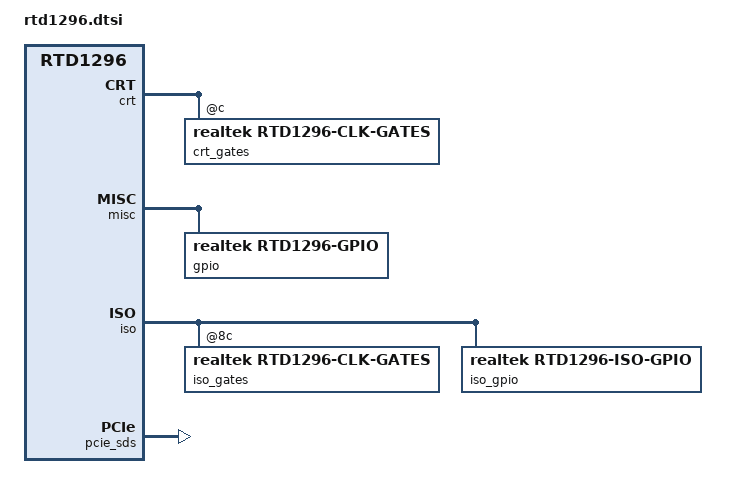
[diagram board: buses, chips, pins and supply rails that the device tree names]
// SPDX-License-Identifier: (GPL-2.0-or-later OR BSD-2-Clause)
#include <arm64/realtek/rtd1296.dtsi>

/ {
	emmc_input: clock-emmc {
		compatible = "fixed-clock";
		#clock-cells = <0>;
		clock-frequency = <80000000>;
	};
};

&rbus {
	cr_domain: power-domain-cr {
		compatible = "realtek,rtd1296-reset-domain";
		#power-domain-cells = <1>;
		resets = <&reset2 10>;
		reset-names = "domain";
	};

	sd: mmc@10400 {
		compatible = "realtek,rtd1296-sdmmc";
		reg = <0x10400 0x200>;
		realtek,crt = <&crt>;
		realtek,sb2 = <&sb2>;
		clocks = <&crt_gates 25>, <&crt_gates 31>;
		power-domains = <&cr_domain 0>;
		status = "disabled";
	};

	emmc: mmc@12000 {
		compatible = "realtek,rtd1296-dw-mshc";
		reg = <0x12000 0x600>;
		realtek,crt = <&crt>;
		clocks = <&emmc_input>, <&crt_gates 24>,
			 <&crt_gates 25>, <&crt_gates 28>;
		clock-names = "ciu", "card", "biu", "ip";
		resets = <&reset2 11>;
		reset-names = "emmc";
		power-domains = <&cr_domain 0>;
		status = "disabled";
	};

	cr_pinctrl: pinctrl@12600 {
		compatible = "pinctrl-single";
		reg = <0x12600 0x40>;
		#pinctrl-cells = <1>;
		pinctrl-single,register-width = <32>;
		pinctrl-single,function-mask = <3>;
		pinctrl-single,bit-per-mux;
	};
};

&crt {
	crt_gates: clock-controller@c {
		compatible = "realtek,rtd1296-clk-gates";
		reg = <0xc 8>;
		#clock-cells = <1>;
	};
};


&misc {
	gpio: gpio@100 {
		compatible = "realtek,rtd1296-gpio";
		reg = <0x100 0x30>;
		gpio-controller;
		#gpio-cells = <2>;
	};
};

&iso {
	iso_pinctrl: pinctrl@310 {
		compatible = "pinctrl-single";
		reg = <0x310 0x10>;
		#pinctrl-cells = <1>;
		pinctrl-single,register-width = <32>;
		pinctrl-single,function-mask = <3>;
		pinctrl-single,bit-per-mux;
	};

	iso_gates: clock-controller@8c {
		compatible = "realtek,rtd1296-clk-gates";
		reg = <0x8c 4>;
		#clock-cells = <1>;
	};

	iso_gpio: gpio@100 {
		compatible = "realtek,rtd1296-iso-gpio";
		reg = <0x100 0x24>;
		gpio-controller;
		#gpio-cells = <2>;
	};
};

&sb2 {
	pinctrl: pinctrl@900 {
		compatible = "pinctrl-single";
		reg = <0x900 0x10>;
		#pinctrl-cells = <1>;
		pinctrl-single,register-width = <32>;
		pinctrl-single,function-mask = <3>;
		pinctrl-single,bit-per-mux;
	};
};

&{/soc@0} {
	usb_bus: usb-bus {
		compatible = "realtek,rtd1296-usb-bus";
		#address-cells = <1>;
		#size-cells = <1>;
		ranges;
		clocks = <&crt_gates 4>;
		power-domains = <&serdes_domain 0>;
		resets = <&reset1 8>, <&reset1 9>, <&reset2 3>,
			 <&reset1 2>, <&reset2 2>, <&reset2 4>,
			 <&reset1 6>, <&reset1 4>, <&reset2 5>;
		reset-names = "usb2-0", "usb2-1", "usb2-2", "usb3-0",
			      "usb2-3", "usb3-1", "controller", "mdio0", "mdio1";
		status = "disabled";

		typec_usb3_phy: phy@98013210 {
			compatible = "realtek,rtd1296-usb3phy";
			reg = <0x98013210 4>;
			#phy-cells = <0>;
		};

		typec_usb2_phy: phy@98013214 {
			compatible = "realtek,rtd1296-usb2phy";
			reg = <0x98013214 4>, <0x98028280 4>;
			#phy-cells = <0>;
		};

		typec: typec@9801334c {
			compatible = "realtek,rtd1296-typec-source";
			reg = <0x9801334c 0x18>;
		};

		usb3_phy: phy@98013e10 {
			compatible = "realtek,rtd1296-usb3phy";
			reg = <0x98013e10 4>;
			#phy-cells = <0>;
		};

		usb3_usb2_phy: phy@98013e14 {
			compatible = "realtek,rtd1296-usb2phy";
			reg = <0x98013e14 4>, <0x981f8280 4>;
			#phy-cells = <0>;
		};

		ehci: usb@98013000 {
			compatible = "realtek,rtd1296-ehci";
			reg = <0x98013000 0x100>, <0x98013800 0x50>;
			reg-names = "core", "wrapper";
		};

		typec_host: usb@98020000 {
			compatible = "realtek,rtd1296-dwc3";
			reg = <0x98020000 0x9000>, <0x98013200 0x140>;
			reg-names = "core", "wrapper";
			dr_mode = "host";
			maximum-speed = "super-speed";
			phys = <&typec_usb3_phy>, <&typec_usb2_phy>;
			phy-names = "usb3-phy", "usb2-phy";
			snps,dis_u2_susphy_quirk;
			snps,dis_u3_susphy_quirk;
		};

		usb2_host: usb@98029000 {
			compatible = "realtek,rtd1296-dwc3";
			reg = <0x98029000 0x9000>, <0x98013c00 0x140>;
			reg-names = "core", "wrapper";
			dr_mode = "host";
			maximum-speed = "high-speed";
			snps,dis_u2_susphy_quirk;
		};

		usb3_host: usb@981f0000 {
			compatible = "realtek,rtd1296-dwc3";
			reg = <0x981f0000 0x9000>, <0x98013e00 0x140>;
			reg-names = "core", "wrapper";
			dr_mode = "host";
			maximum-speed = "super-speed";
			phys = <&usb3_phy>, <&usb3_usb2_phy>;
			phy-names = "usb3-phy", "usb2-phy";
			snps,dis_u2_susphy_quirk;
			snps,dis_u3_susphy_quirk;
		};
	};

	pcie_sds: syscon@9801c600 {
		compatible = "syscon";
		reg = <0x9801c600 0x100>;
	};

	pcie0: pcie@9804e000 {
		compatible = "realtek,rtd1296-pcie-gen1";
		reg = <0x9804e000 0x1000>, <0x9804f000 0x800>;
		device_type = "pci";
		#address-cells = <3>;
		#size-cells = <2>;
		bus-range = <0 0>;
		ranges = <0x02000000 0 0xc0000000 0x9804f000 0 0x800>;
		realtek,sds = <&pcie_sds>;
		realtek,sb2 = <&sb2>;
		power-domains = <&serdes_domain 0>;
		clocks = <&crt_gates 1>;
		resets = <&reset2 6>, <&reset2 8>, <&reset2 13>,
			 <&reset2 14>, <&reset2 15>, <&reset2 7>, <&reset4 13>;
		status = "disabled";
	};

	pcie1: pcie@9803b000 {
		compatible = "realtek,rtd1296-pcie-gen2";
		reg = <0x9803b000 0x1000>, <0x9803c000 0x800>;
		device_type = "pci";
		#address-cells = <3>;
		#size-cells = <2>;
		bus-range = <1 1>;
		ranges = <0x02000000 0 0xc1000000 0x9803c000 0 0x800>;
		realtek,sds = <&pcie_sds>;
		realtek,sb2 = <&sb2>;
		power-domains = <&serdes_domain 0>;
		clocks = <&crt_gates 37>;
		resets = <&reset2 19>, <&reset2 17>, <&reset2 20>,
			 <&reset2 21>, <&reset2 22>, <&reset2 16>, <&reset4 14>;
		status = "disabled";
	};

	serdes_domain: power-domain-serdes {
		compatible = "realtek,rtd1296-reset-domain";
		#power-domain-cells = <1>;
		resets = <&reset2 31>;
		reset-names = "domain";
	};

	sata_phy: phy@9803ff60 {
		compatible = "realtek,rtd1296-sata-phy";
		reg = <0x9803ff60 0x10>;
		#phy-cells = <1>;
		realtek,sb2 = <&sb2>;
		power-domains = <&serdes_domain 0>;
		clocks = <&crt_gates 7>, <&crt_gates 58>;
		resets = <&reset1 10>, <&reset4 7>;
		reset-names = "port0", "port1";
		status = "disabled";
	};

	sata: sata@9803f000 {
		compatible = "realtek,rtd1296-ahci";
		reg = <0x9803f000 0x200>;
		power-domains = <&serdes_domain 0>;
		clocks = <&crt_gates 2>, <&crt_gates 57>;
		resets = <&reset1 5>, <&reset1 7>, <&reset4 10>, <&reset4 9>;
		#address-cells = <1>;
		#size-cells = <0>;
		status = "disabled";
	};

	disp_pinctrl: pinctrl@9804d000 {
		compatible = "pinctrl-single";
		reg = <0x9804d000 0x10>;
		#pinctrl-cells = <1>;
		pinctrl-single,register-width = <32>;
		pinctrl-single,function-mask = <3>;
		pinctrl-single,bit-per-mux;
	};

	gmac: ethernet@98016000 {
		compatible = "realtek,rtd1296-gmac";
		reg = <0x98016000 0x1000>;
		realtek,iso = <&iso>;
		clocks = <&iso_gates 11>, <&iso_gates 12>;
		clock-names = "250m", "sys";
		resets = <&iso_reset 9>, <&iso_reset 10>;
		reset-names = "gmac", "gphy";
		phy-mode = "internal";
		status = "disabled";
	};

	sfc: spi@9801a800 {
		compatible = "realtek,rtd1296-sfc";
		reg = <0x9801a800 0x30>, <0x88100000 0x1000000>;
		reg-names = "ctrl", "flash";
		realtek,sb2 = <&sb2>;
		#address-cells = <1>;
		#size-cells = <0>;
		status = "disabled";
	};
};
